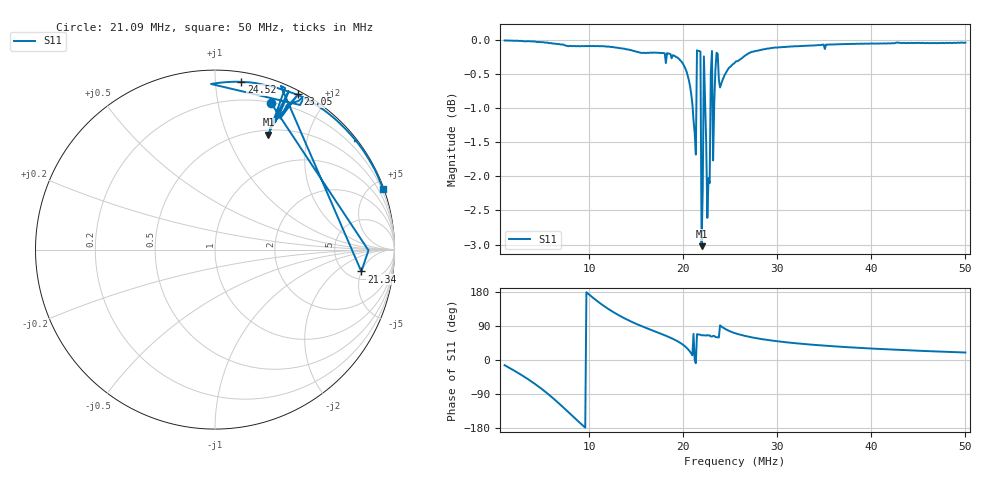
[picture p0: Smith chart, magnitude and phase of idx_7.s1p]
# HZ S RI R 50
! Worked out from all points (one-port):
!   401 points, 1 MHz to 50 MHz, reference 50 ohm
!   lowest |S11| = -3.0 dB at 21.95 MHz (marker M1), VSWR 5.80, Z = 27.8 + j70.9 ohm
!   |S11| at or under -10 dB: nowhere
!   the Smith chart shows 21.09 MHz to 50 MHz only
!   S11 on the Smith chart (normalised r, x): 21.09 MHz: 0.21, +1.43; 21.34 MHz: 6.55, -4.97; 23.05 MHz: 0.03, +1.67; 24.52 MHz: 0.07, +1.17; 50 MHz: 0.07, +5.75
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1000000  0.9711 -0.2361
2960000  0.74 -0.6701
4797500  0.2818 -0.9561
6022500  -0.1395 -0.9846
7125000  -0.5326 -0.8377
8472500  -0.8864 -0.4408
9697500  -0.9898 0.0198
1.1535e7  -0.79 0.5959
1.325e7  -0.4419 0.8821
1.63125e7  0.1364 0.969
1.9375e7  0.6272 0.7412
2.07225e7  0.8589 0.3431
2.0845e7  0.8711 0.2728
2.109e7  0.3129 0.8151
2.1335e7  0.8151 -0.1217
2.14575e7  0.3668 0.9119
2.17025e7  0.3832 0.9038
2.19475e7  0.2979 0.6401
2.305e7  0.4634 0.8656
2.354e7  0.4879 0.8487
2.41525e7  0.0538 0.9324
2.452e7  0.1467 0.9345
2.55e7  0.3173 0.909
2.795e7  0.5386 0.8216
3.1625e7  0.6995 0.6995
3.775e7  0.8298 0.5463
4.3875e7  0.8972 0.4305
5e7  0.9373 0.3362
